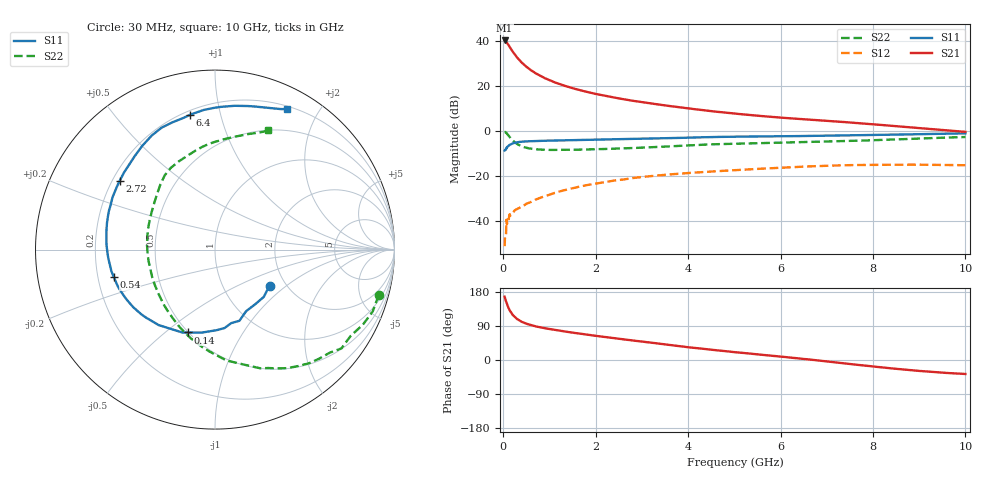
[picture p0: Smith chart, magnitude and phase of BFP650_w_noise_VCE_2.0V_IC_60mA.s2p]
! Infineon Technologies  Discrete & RF Semiconductors
! BFP650
! VCE =  2.0 V,  IC =  60 mA
! Common Emitter S-Parameters:  Jan 2016
# GHz  S  MA  R  50
!  f  S11  S21  S12  S22
! GHz  MAG  ANG  MAG  ANG  MAG  ANG  MAG  ANG
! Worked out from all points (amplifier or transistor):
!   229 points, 30 MHz to 10 GHz, reference 50 ohm
!   highest |S21| = 40.2 dB at 30 MHz (marker M1)
!   |S21| within 3 dB of that: start of sweep to 143 MHz
!   unconditionally stable (mu >= 1): 1.715 GHz to end of sweep
!   at 280 MHz: K = 0.52, MSG = 34.1 dB, |S12| = -35.0 dB
!   at 1.78 GHz: K = 1.00, MAG = 20.5 dB, |S12| = -24.3 dB
!   at 10 GHz: K = 1.03, MAG = 6.4 dB, |S12| = -15.3 dB
!   lowest NFmin = 1.07 dB at 450 MHz
!   S11 on the Smith chart (normalised r, x): 30 MHz: 1.65, -0.77; 140 MHz: 0.50, -0.60; 540 MHz: 0.27, -0.12; 2.72 GHz: 0.23, +0.31; 6.4 GHz: 0.22, +0.81; 10 GHz: 0.23, +1.61
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0.03  0.3645 -33.5  102.8 167.1  0.0027 99.2  0.9468 -15.5
0.04  0.3785 -44.1  101.8 162.7  0.0045 67.4  0.9439 -21.4
0.05  0.3779 -53.6  98.78 158.4  0.0046 57.6  0.9242 -26.9
0.06  0.3845 -63.2  97.33 155.0  0.0048 40.3  0.896 -32.4
0.08  0.4194 -77.5  91.53 147.6  0.0083 57.2  0.8603 -41.8
0.11  0.4575 -94.5  82.51 138.5  0.0107 59.7  0.7954 -54.8
0.14  0.4857 -108.1  73.6 131.1  0.0139 60.0  0.7239 -65.7
0.2  0.5246 -126.7  59.06 119.7  0.0145 54.0  0.6212 -84.1
0.26  0.5464 -138.7  48.51 112.1  0.0172 53.8  0.5459 -97.8
0.3  0.5571 -144.8  42.9 108.1  0.0182 54.7  0.5102 -105.8
0.4  0.5727 -155.4  33.07 100.8  0.0206 51.9  0.451 -121.0
0.54  0.5844 -164.9  24.97 94.3  0.0246 54.5  0.4103 -136.3
0.7  0.5932 -172.6  19.15 88.7  0.0294 55.8  0.3891 -149.4
1  0.605 177.6  13.38 81.6  0.0376 56.7  0.3757 -166.0
1.7  0.6258 161.9  7.838 68.9  0.0586 52.6  0.3818 171.1
2.72  0.6547 144.3  4.821 52.8  0.0862 43.7  0.4104 149.3
3.4  0.6776 133.8  3.8 42.7  0.1027 36.3  0.4402 138.2
5.1  0.7425 112.6  2.368 19.7  0.1346 19.4  0.52 117.2
6.4  0.7634 100.5  1.842 4.1  0.1578 6.8  0.5579 102.3
6.8  0.7744 96.5  1.727 -1.0  0.1639 2.4  0.5707 98.6
8.4  0.8206 77.1  1.293 -22.1  0.1756 -15.3  0.6372 80.4
10  0.8796 62.8  0.949 -36.9  0.1713 -27.9  0.7279 65.9
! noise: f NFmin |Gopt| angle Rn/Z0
0.45  1.07  0.44  -171  0.06
0.9  1.08  0.45  -165  0.06
1.9  1.23  0.48  -153  0.07
2.4  1.3  0.46  -142  0.09
3.5  1.52  0.48  -119  0.15
